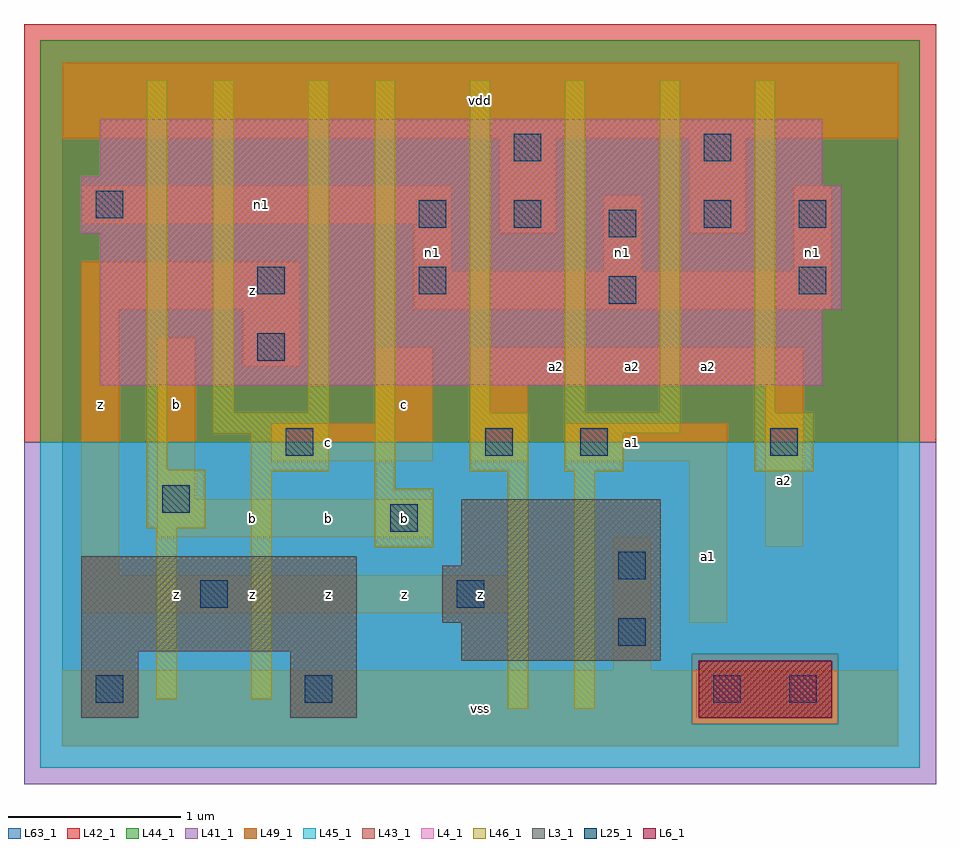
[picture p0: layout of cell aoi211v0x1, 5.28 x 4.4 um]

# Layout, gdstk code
import gdstk
lib = gdstk.Library(unit=1e-6, precision=1e-09)
def R(c, l, rs):  # rectangles x0, y0, x1, y1
    for r in rs: c.add(gdstk.rectangle(r[:2], r[2:], *l))
def A(c, l, x, y, w, h, nx, ny, dx, dy):  # array of equal rectangles
    R(c, l, [(x+i*dx, y+j*dy, x+i*dx+w, y+j*dy+h) for i in range(nx) for j in range(ny)])
L3_1 = (3, 1)
L4_1 = (4, 1)
L6_1 = (6, 1)
L25_1 = (25, 1)
L41_1 = (41, 1)
L42_1 = (42, 1)
L43_1 = (43, 1)
L44_1 = (44, 1)
L45_1 = (45, 1)
L46_1 = (46, 1)
L49_1 = (49, 1)
L63_1 = (63, 1)

aoi211v0x1 = lib.new_cell('aoi211v0x1')
R(aoi211v0x1, L3_1, [(0.11,0.165,0.44,0.55), (1.32,0.165,1.705,0.55), (2.31,0.495,3.465,0.715), (0.11,0.55,1.705,1.1), (2.2,0.715,3.465,1.045), (2.31,1.045,3.465,1.43)])
R(aoi211v0x1, L4_1, [(0.22,2.09,4.4,2.53), (0.22,2.53,4.51,2.97), (0.11,2.97,4.51,3.245), (0.11,3.245,4.4,3.3), (0.22,3.3,4.4,3.63)])
R(aoi211v0x1, L6_1, [(3.685,0.165,4.455,0.495)])
R(aoi211v0x1, L25_1, [(0.195,0.25,0.355,0.41), (1.405,0.25,1.565,0.41), (3.77,0.25,3.93,0.41), (4.21,0.25,4.37,0.41), (3.22,0.58,3.38,0.74), (0.8,0.8,0.96,0.96), (2.285,0.8,2.445,0.96), (3.22,0.965,3.38,1.125), (1.9,1.24,2.06,1.4), (0.58,1.35,0.74,1.51), (1.295,1.68,1.455,1.84), (2.45,1.68,2.61,1.84), (3,1.68,3.16,1.84), (4.1,1.68,4.26,1.84), (1.13,2.23,1.29,2.39), (3.165,2.56,3.325,2.72), (1.13,2.615,1.29,2.775), (2.065,2.615,2.225,2.775), (4.265,2.615,4.425,2.775), (3.165,2.945,3.325,3.105), (2.065,3,2.225,3.16), (2.615,3,2.775,3.16), (3.715,3,3.875,3.16), (4.265,3,4.425,3.16), (0.195,3.055,0.355,3.215), (2.615,3.385,2.775,3.545), (3.715,3.385,3.875,3.545)])
R(aoi211v0x1, L41_1, [(-0.22,-0.22,5.06,1.76)])
R(aoi211v0x1, L42_1, [(-0.22,1.76,5.06,4.18)])
R(aoi211v0x1, L43_1, [(0.11,0.165,0.44,0.55), (1.32,0.165,1.705,0.55), (3.685,0.165,4.455,0.495), (2.31,0.495,3.465,0.715), (0.11,0.55,1.705,1.1), (2.2,0.715,3.465,1.045), (2.31,1.045,3.465,1.43), (0.22,2.09,4.4,2.53), (0.22,2.53,4.51,2.97), (0.11,2.97,4.51,3.245), (0.11,3.245,4.4,3.3), (0.22,3.3,4.4,3.63)])
R(aoi211v0x1, L44_1, [(3.645,0.125,4.495,0.535), (-0.125,1.76,4.965,4.085)])
R(aoi211v0x1, L45_1, [(-0.125,-0.125,4.965,0.125), (-0.125,0.125,3.645,0.535), (4.495,0.125,4.965,0.535), (-0.125,0.535,4.965,1.76)])
A(aoi211v0x1, L46_1, 2.36, 1.93, 0.12, 1.925, 4, 1, 0.55, 0)
R(aoi211v0x1, L46_1, [(2.58,0.215,2.7,1.59), (2.965,0.215,3.085,1.59), (0.545,0.27,0.665,1.26), (1.095,0.27,1.215,1.59), (1.81,1.15,2.15,1.49), (0.49,1.26,0.83,1.6), (1.81,1.49,1.93,3.855), (1.095,1.59,1.545,1.81), (2.36,1.59,2.7,1.93), (2.91,1.59,3.25,1.81), (4.01,1.59,4.35,1.93), (0.49,1.6,0.61,3.855), (0.875,1.81,1.545,1.93), (2.91,1.81,3.58,1.93), (0.875,1.93,0.995,3.855), (1.425,1.93,1.545,3.855)])
R(aoi211v0x1, L49_1, [(0,0,4.84,0.44), (3.19,0.44,3.41,1.21), (3.63,0.715,3.85,1.65), (0.11,0.77,2.585,0.99), (0.11,0.99,0.33,2.53), (4.07,1.155,4.29,2.09), (0.55,1.21,2.145,1.43), (0.55,1.43,0.77,2.365), (1.21,1.65,2.145,1.87), (2.365,1.65,2.695,2.09), (2.915,1.65,3.85,1.87), (1.815,1.87,2.145,2.31), (2.365,2.09,4.29,2.31), (1.045,2.2,1.375,2.53), (0.11,2.53,1.375,2.805), (2.035,2.53,4.455,2.75), (2.035,2.75,2.255,3.025), (3.135,2.75,3.355,3.19), (4.235,2.75,4.455,3.245), (2.53,2.97,2.86,3.52), (3.63,2.97,3.96,3.52), (0.11,3.025,2.255,3.245), (0,3.52,4.84,3.96)])
R(aoi211v0x1, L63_1, [(0,0,4.84,3.96)])
aoi211v0x1.add(gdstk.Label('z', (0.66,0.88), layer=49, texttype=1))
aoi211v0x1.add(gdstk.Label('z', (0.22,1.98), layer=49, texttype=1))
aoi211v0x1.add(gdstk.Label('b', (0.66,1.98), layer=49, texttype=1))
aoi211v0x1.add(gdstk.Label('z', (1.1,0.88), layer=49, texttype=1))
aoi211v0x1.add(gdstk.Label('z', (1.54,0.88), layer=49, texttype=1))
aoi211v0x1.add(gdstk.Label('b', (1.1,1.32), layer=49, texttype=1))
aoi211v0x1.add(gdstk.Label('b', (1.54,1.32), layer=49, texttype=1))
aoi211v0x1.add(gdstk.Label('c', (1.54,1.76), layer=49, texttype=1))
aoi211v0x1.add(gdstk.Label('z', (1.1,2.64), layer=49, texttype=1))
aoi211v0x1.add(gdstk.Label('vss', (2.42,0.22), layer=49, texttype=1))
aoi211v0x1.add(gdstk.Label('z', (2.42,0.88), layer=49, texttype=1))
aoi211v0x1.add(gdstk.Label('z', (1.98,0.88), layer=49, texttype=1))
aoi211v0x1.add(gdstk.Label('b', (1.98,1.32), layer=49, texttype=1))
aoi211v0x1.add(gdstk.Label('c', (1.98,1.98), layer=49, texttype=1))
aoi211v0x1.add(gdstk.Label('n1', (2.145,2.86), layer=49, texttype=1))
aoi211v0x1.add(gdstk.Label('n1', (1.155,3.135), layer=49, texttype=1))
aoi211v0x1.add(gdstk.Label('vdd', (2.42,3.74), layer=49, texttype=1))
aoi211v0x1.add(gdstk.Label('a1', (3.74,1.1), layer=49, texttype=1))
aoi211v0x1.add(gdstk.Label('a1', (3.3,1.76), layer=49, texttype=1))
aoi211v0x1.add(gdstk.Label('a2', (2.86,2.2), layer=49, texttype=1))
aoi211v0x1.add(gdstk.Label('a2', (3.3,2.2), layer=49, texttype=1))
aoi211v0x1.add(gdstk.Label('a2', (3.74,2.2), layer=49, texttype=1))
aoi211v0x1.add(gdstk.Label('n1', (3.245,2.86), layer=49, texttype=1))
aoi211v0x1.add(gdstk.Label('a2', (4.18,1.54), layer=49, texttype=1))
aoi211v0x1.add(gdstk.Label('n1', (4.345,2.86), layer=49, texttype=1))

lib.write_gds('aoi211v0x1.gds')
